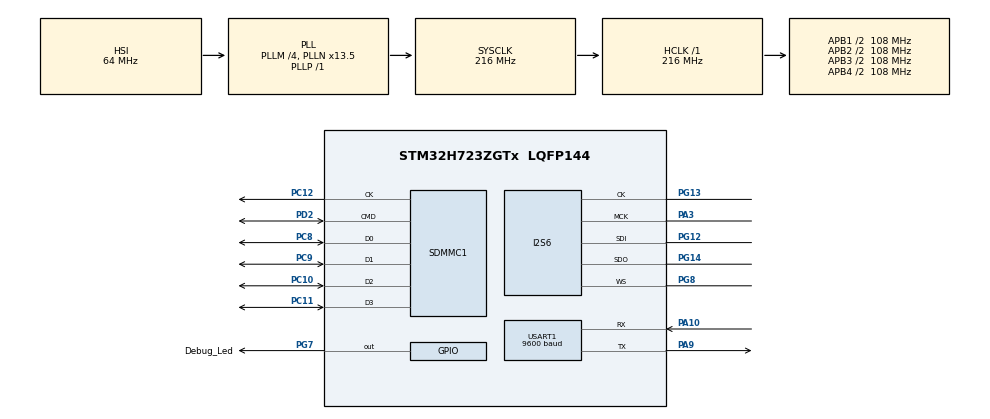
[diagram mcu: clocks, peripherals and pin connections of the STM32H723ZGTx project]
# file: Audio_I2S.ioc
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Bdma.Request0=SPI6_TX
Bdma.RequestsNb=1
Bdma.SPI6_TX.0.Direction=DMA_MEMORY_TO_PERIPH
Bdma.SPI6_TX.0.EventEnable=DISABLE
Bdma.SPI6_TX.0.Instance=BDMA_Channel0
Bdma.SPI6_TX.0.MemDataAlignment=DMA_MDATAALIGN_HALFWORD
Bdma.SPI6_TX.0.MemInc=DMA_MINC_ENABLE
Bdma.SPI6_TX.0.Mode=DMA_CIRCULAR
Bdma.SPI6_TX.0.PeriphDataAlignment=DMA_PDATAALIGN_HALFWORD
Bdma.SPI6_TX.0.PeriphInc=DMA_PINC_DISABLE
Bdma.SPI6_TX.0.Polarity=HAL_DMAMUX_REQ_GEN_RISING
Bdma.SPI6_TX.0.Priority=DMA_PRIORITY_LOW
Bdma.SPI6_TX.0.RequestNumber=1
Bdma.SPI6_TX.0.SignalID=NONE
Bdma.SPI6_TX.0.SyncEnable=DISABLE
Bdma.SPI6_TX.0.SyncPolarity=HAL_DMAMUX_SYNC_NO_EVENT
Bdma.SPI6_TX.0.SyncRequestNumber=1
Bdma.SPI6_TX.0.SyncSignalID=NONE
CORTEX_M7.default_mode_Activation=1
FATFS._MAX_SS=4096
FATFS._USE_LFN=3
I2S6.AudioFreq=I2S_AUDIOFREQ_16K
I2S6.ErrorAudioFreq=1.4 %
I2S6.Instance=SPI$Index
I2S6.RealAudioFreq=16.225 KHz
Mcu.Family=STM32H7
Mcu.Name=STM32H723ZGTx
Mcu.Package=LQFP144
NVIC.BDMA_Channel0_IRQn=true\:0\:0\:false\:false\:true\:false\:true\:true
NVIC.PriorityGroup=NVIC_PRIORITYGROUP_4
NVIC.SDMMC1_IRQn=true\:0\:0\:false\:false\:true\:true\:true\:true
PA10.Mode=Asynchronous
PA10.Signal=USART1_RX
PA13(JTMS/SWDIO).Mode=Serial_Wire
PA13(JTMS/SWDIO).Signal=DEBUG_JTMS-SWDIO
PA14(JTCK/SWCLK).Mode=Serial_Wire
PA14(JTCK/SWCLK).Signal=DEBUG_JTCK-SWCLK
PA3.Mode=Master_Clock_Activated
PA3.Signal=I2S6_MCK
PA9.Mode=Asynchronous
PA9.Signal=USART1_TX
PC10.Mode=SD_4_bits_Wide_bus
PC10.Signal=SDMMC1_D2
PC11.Mode=SD_4_bits_Wide_bus
PC11.Signal=SDMMC1_D3
PC12.Mode=SD_4_bits_Wide_bus
PC12.Signal=SDMMC1_CK
PC8.Mode=SD_4_bits_Wide_bus
PC8.Signal=SDMMC1_D0
PC9.Mode=SD_4_bits_Wide_bus
PC9.Signal=SDMMC1_D1
PD2.Mode=SD_4_bits_Wide_bus
PD2.Signal=SDMMC1_CMD
PG12.Mode=Full_Duplex_Master
PG12.Signal=I2S6_SDI
PG13.Mode=Full_Duplex_Master
PG13.Signal=I2S6_CK
PG14.Mode=Full_Duplex_Master
PG14.Signal=I2S6_SDO
PG7.GPIO_Label=Debug_Led
PG7.Signal=GPIO_Output
PG8.Mode=Full_Duplex_Master
PG8.Signal=I2S6_WS
PH0-OSC_IN.Mode=HSE-External-Oscillator
PH0-OSC_IN.Signal=RCC_OSC_IN
PH1-OSC_OUT.Mode=HSE-External-Oscillator
PH1-OSC_OUT.Signal=RCC_OSC_OUT
ProjectManager.HeapSize=0x200
ProjectManager.StackSize=0x400
ProjectManager.TargetToolchain=STM32CubeIDE
RCC.ADCFreq_Value=129000000
RCC.APB1Freq_Value=108000000
RCC.APB2Freq_Value=108000000
RCC.APB3Freq_Value=108000000
RCC.APB4Freq_Value=108000000
RCC.CortexFreq_Value=216000000
RCC.D1PPRE=RCC_APB3_DIV2
RCC.D2PPRE1=RCC_APB1_DIV2
RCC.D2PPRE2=RCC_APB2_DIV2
RCC.D3PPRE=RCC_APB4_DIV2
RCC.DIVM1=4
RCC.DIVN1=13
RCC.DIVP1=1
RCC.DIVQ1=6
RCC.HCLKFreq_Value=216000000
RCC.PLL2FRACN=0
RCC.PLL3FRACN=0
RCC.PLLFRACN=4096
RCC.SYSCLKFreq_VALUE=216000000
RCC.SYSCLKSource=RCC_SYSCLKSOURCE_PLLCLK
RCC.USBFreq_Value=36000000
SDMMC1.ClockDiv=2
USART1.BaudRate=9600
USART1.VirtualMode-Asynchronous=VM_ASYNC
VP_FATFS_VS_SDIO.Mode=SDIO
VP_MEMORYMAP_VS_MEMORYMAP.Mode=CurAppReg
board=custom

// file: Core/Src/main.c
/* USER CODE BEGIN Header */
/**
 ******************************************************************************
 * @file           : main.c
 * @brief          : Main program body
 ******************************************************************************
 * @attention
 *
 * Copyright (c) 2025 STMicroelectronics.
 * All rights reserved.
 *
 * This software is licensed under terms that can be found in the LICENSE file
 * in the root directory of this software component.
 * If no LICENSE file comes with this software, it is provided AS-IS.
 *
 ******************************************************************************
 */
/* USER CODE END Header */
#include "main.h"
#include "fatfs.h"

/* USER CODE BEGIN Includes */
#include "wav_player.h"
#include "sdio_functions.h"
/* USER CODE END Includes */

/* USER CODE BEGIN PTD */
typedef enum {
	UNKNOWN,
	HALF_COMPLETED,
	FULL_COMPLETED
} CallBack_Result_t;

/* USER CODE END PTD */

I2S_HandleTypeDef hi2s6;
DMA_HandleTypeDef hdma_spi6_tx;

SD_HandleTypeDef hsd1;

UART_HandleTypeDef huart1;

void SystemClock_Config(void);
static void MPU_Config(void);
static void MX_GPIO_Init(void);
static void MX_BDMA_Init(void);
static void MX_USART1_UART_Init(void);
static void MX_I2S6_Init(void);
static void MX_SDMMC1_SD_Init(void);

/* USER CODE BEGIN 0 */
int _write(int fd, unsigned char *buf, int len) {
  if (fd == 1 || fd == 2) {                     // stdout or stderr ?
    HAL_UART_Transmit(&huart1, buf, len, 999);  // Print to the UART
  }
  return len;
}

/* USER CODE END 0 */

int main(void)
{

  /* MPU Configuration--------------------------------------------------------*/
  MPU_Config();

  /* MCU Configuration--------------------------------------------------------*/

  /* Reset of all peripherals, Initializes the Flash interface and the Systick. */
  HAL_Init();

  /* Configure the system clock */
  SystemClock_Config();

  /* Initialize all configured peripherals */
  MX_GPIO_Init();
  MX_BDMA_Init();
  MX_FATFS_Init();
  MX_USART1_UART_Init();
  MX_I2S6_Init();
  MX_SDMMC1_SD_Init();
  /* USER CODE BEGIN 2 */
  HAL_Delay(3000);
  sd_mount();
  if (wav_init(&hi2s6, "Latroi_pcm_16le_full.wav") != WAV_OK) {
      while(1);
  }
  wav_start_play();
  /* USER CODE END 2 */

  /* Infinite loop */
    while (1)
    {

    }
}

void SystemClock_Config(void)
{
  RCC_OscInitTypeDef RCC_OscInitStruct = {0};
  RCC_ClkInitTypeDef RCC_ClkInitStruct = {0};

  /** Supply configuration update enable
  */
  HAL_PWREx_ConfigSupply(PWR_LDO_SUPPLY);

  /** Configure the main internal regulator output voltage
  */
  __HAL_PWR_VOLTAGESCALING_CONFIG(PWR_REGULATOR_VOLTAGE_SCALE0);

  while(!__HAL_PWR_GET_FLAG(PWR_FLAG_VOSRDY)) {}

  /** Initializes the RCC Oscillators according to the specified parameters
  * in the RCC_OscInitTypeDef structure.
  */
  RCC_OscInitStruct.OscillatorType = RCC_OSCILLATORTYPE_HSI;
  RCC_OscInitStruct.HSIState = RCC_HSI_DIV1;
  RCC_OscInitStruct.HSICalibrationValue = 64;
  RCC_OscInitStruct.PLL.PLLState = RCC_PLL_ON;
  RCC_OscInitStruct.PLL.PLLSource = RCC_PLLSOURCE_HSI;
  RCC_OscInitStruct.PLL.PLLM = 4;
  RCC_OscInitStruct.PLL.PLLN = 13;
  RCC_OscInitStruct.PLL.PLLP = 1;
  RCC_OscInitStruct.PLL.PLLQ = 6;
  RCC_OscInitStruct.PLL.PLLR = 2;
  RCC_OscInitStruct.PLL.PLLRGE = RCC_PLL1VCIRANGE_3;
  RCC_OscInitStruct.PLL.PLLVCOSEL = RCC_PLL1VCOWIDE;
  RCC_OscInitStruct.PLL.PLLFRACN = 4096;
  if (HAL_RCC_OscConfig(&RCC_OscInitStruct) != HAL_OK)
  {
    Error_Handler();
  }

  /** Initializes the CPU, AHB and APB buses clocks
  */
  RCC_ClkInitStruct.ClockType = RCC_CLOCKTYPE_HCLK|RCC_CLOCKTYPE_SYSCLK
                              |RCC_CLOCKTYPE_PCLK1|RCC_CLOCKTYPE_PCLK2
                              |RCC_CLOCKTYPE_D3PCLK1|RCC_CLOCKTYPE_D1PCLK1;
  RCC_ClkInitStruct.SYSCLKSource = RCC_SYSCLKSOURCE_PLLCLK;
  RCC_ClkInitStruct.SYSCLKDivider = RCC_SYSCLK_DIV1;
  RCC_ClkInitStruct.AHBCLKDivider = RCC_HCLK_DIV1;
  RCC_ClkInitStruct.APB3CLKDivider = RCC_APB3_DIV2;
  RCC_ClkInitStruct.APB1CLKDivider = RCC_APB1_DIV2;
  RCC_ClkInitStruct.APB2CLKDivider = RCC_APB2_DIV2;
  RCC_ClkInitStruct.APB4CLKDivider = RCC_APB4_DIV2;

  if (HAL_RCC_ClockConfig(&RCC_ClkInitStruct, FLASH_LATENCY_3) != HAL_OK)
  {
    Error_Handler();
  }
}

static void MX_I2S6_Init(void)
{

  hi2s6.Instance = SPI6;
  hi2s6.Init.Mode = I2S_MODE_MASTER_FULLDUPLEX;
  hi2s6.Init.Standard = I2S_STANDARD_PHILIPS;
  hi2s6.Init.DataFormat = I2S_DATAFORMAT_16B;
  hi2s6.Init.MCLKOutput = I2S_MCLKOUTPUT_ENABLE;
  hi2s6.Init.AudioFreq = I2S_AUDIOFREQ_16K;
  hi2s6.Init.CPOL = I2S_CPOL_LOW;
  hi2s6.Init.FirstBit = I2S_FIRSTBIT_MSB;
  hi2s6.Init.WSInversion = I2S_WS_INVERSION_DISABLE;
  hi2s6.Init.Data24BitAlignment = I2S_DATA_24BIT_ALIGNMENT_RIGHT;
  hi2s6.Init.MasterKeepIOState = I2S_MASTER_KEEP_IO_STATE_DISABLE;
  if (HAL_I2S_Init(&hi2s6) != HAL_OK)
  {
    Error_Handler();
  }

}

static void MX_SDMMC1_SD_Init(void)
{

  hsd1.Instance = SDMMC1;
  hsd1.Init.ClockEdge = SDMMC_CLOCK_EDGE_RISING;
  hsd1.Init.ClockPowerSave = SDMMC_CLOCK_POWER_SAVE_DISABLE;
  hsd1.Init.BusWide = SDMMC_BUS_WIDE_4B;
  hsd1.Init.HardwareFlowControl = SDMMC_HARDWARE_FLOW_CONTROL_DISABLE;
  hsd1.Init.ClockDiv = 2;
  if (HAL_SD_Init(&hsd1) != HAL_OK)
  {
    Error_Handler();
  }
  /* USER CODE BEGIN SDMMC1_Init 2 */
  // hsd1.Init.BusWide = SDMMC_BUS_WIDE_1B;
  /* USER CODE END SDMMC1_Init 2 */

}

static void MX_USART1_UART_Init(void)
{

  huart1.Instance = USART1;
  huart1.Init.BaudRate = 9600;
  huart1.Init.WordLength = UART_WORDLENGTH_8B;
  huart1.Init.StopBits = UART_STOPBITS_1;
  huart1.Init.Parity = UART_PARITY_NONE;
  huart1.Init.Mode = UART_MODE_TX_RX;
  huart1.Init.HwFlowCtl = UART_HWCONTROL_NONE;
  huart1.Init.OverSampling = UART_OVERSAMPLING_16;
  huart1.Init.OneBitSampling = UART_ONE_BIT_SAMPLE_DISABLE;
  huart1.Init.ClockPrescaler = UART_PRESCALER_DIV1;
  huart1.AdvancedInit.AdvFeatureInit = UART_ADVFEATURE_NO_INIT;
  if (HAL_UART_Init(&huart1) != HAL_OK)
  {
    Error_Handler();
  }
  if (HAL_UARTEx_SetTxFifoThreshold(&huart1, UART_TXFIFO_THRESHOLD_1_8) != HAL_OK)
  {
    Error_Handler();
  }
  if (HAL_UARTEx_SetRxFifoThreshold(&huart1, UART_RXFIFO_THRESHOLD_1_8) != HAL_OK)
  {
    Error_Handler();
  }
  if (HAL_UARTEx_DisableFifoMode(&huart1) != HAL_OK)
  {
    Error_Handler();
  }

}

static void MX_BDMA_Init(void)
{

  /* DMA controller clock enable */
  __HAL_RCC_BDMA_CLK_ENABLE();

  /* DMA interrupt init */
  /* BDMA_Channel0_IRQn interrupt configuration */
  HAL_NVIC_SetPriority(BDMA_Channel0_IRQn, 0, 0);
  HAL_NVIC_EnableIRQ(BDMA_Channel0_IRQn);

}

static void MX_GPIO_Init(void)
{
  GPIO_InitTypeDef GPIO_InitStruct = {0};

  /* GPIO Ports Clock Enable */
  __HAL_RCC_GPIOH_CLK_ENABLE();
  __HAL_RCC_GPIOA_CLK_ENABLE();
  __HAL_RCC_GPIOG_CLK_ENABLE();
  __HAL_RCC_GPIOC_CLK_ENABLE();
  __HAL_RCC_GPIOD_CLK_ENABLE();

  /*Configure GPIO pin Output Level */
  HAL_GPIO_WritePin(Debug_Led_GPIO_Port, Debug_Led_Pin, GPIO_PIN_RESET);

  /*Configure GPIO pin : Debug_Led_Pin */
  GPIO_InitStruct.Pin = Debug_Led_Pin;
  GPIO_InitStruct.Mode = GPIO_MODE_OUTPUT_PP;
  GPIO_InitStruct.Pull = GPIO_NOPULL;
  GPIO_InitStruct.Speed = GPIO_SPEED_FREQ_LOW;
  HAL_GPIO_Init(Debug_Led_GPIO_Port, &GPIO_InitStruct);

}

 /* MPU Configuration */

void MPU_Config(void)
{
  MPU_Region_InitTypeDef MPU_InitStruct = {0};

  /* Disables the MPU */
  HAL_MPU_Disable();

  /** Initializes and configures the Region and the memory to be protected
  */
  MPU_InitStruct.Enable = MPU_REGION_ENABLE;
  MPU_InitStruct.Number = MPU_REGION_NUMBER0;
  MPU_InitStruct.BaseAddress = 0x0;
  MPU_InitStruct.Size = MPU_REGION_SIZE_4GB;
  MPU_InitStruct.SubRegionDisable = 0x87;
  MPU_InitStruct.TypeExtField = MPU_TEX_LEVEL0;
  MPU_InitStruct.AccessPermission = MPU_REGION_NO_ACCESS;
  MPU_InitStruct.DisableExec = MPU_INSTRUCTION_ACCESS_DISABLE;
  MPU_InitStruct.IsShareable = MPU_ACCESS_SHAREABLE;
  MPU_InitStruct.IsCacheable = MPU_ACCESS_NOT_CACHEABLE;
  MPU_InitStruct.IsBufferable = MPU_ACCESS_NOT_BUFFERABLE;

  HAL_MPU_ConfigRegion(&MPU_InitStruct);
  /* Enables the MPU */
  HAL_MPU_Enable(MPU_PRIVILEGED_DEFAULT);

}

void Error_Handler(void)
{
    __disable_irq();
    while (1)
    {
    }
}
